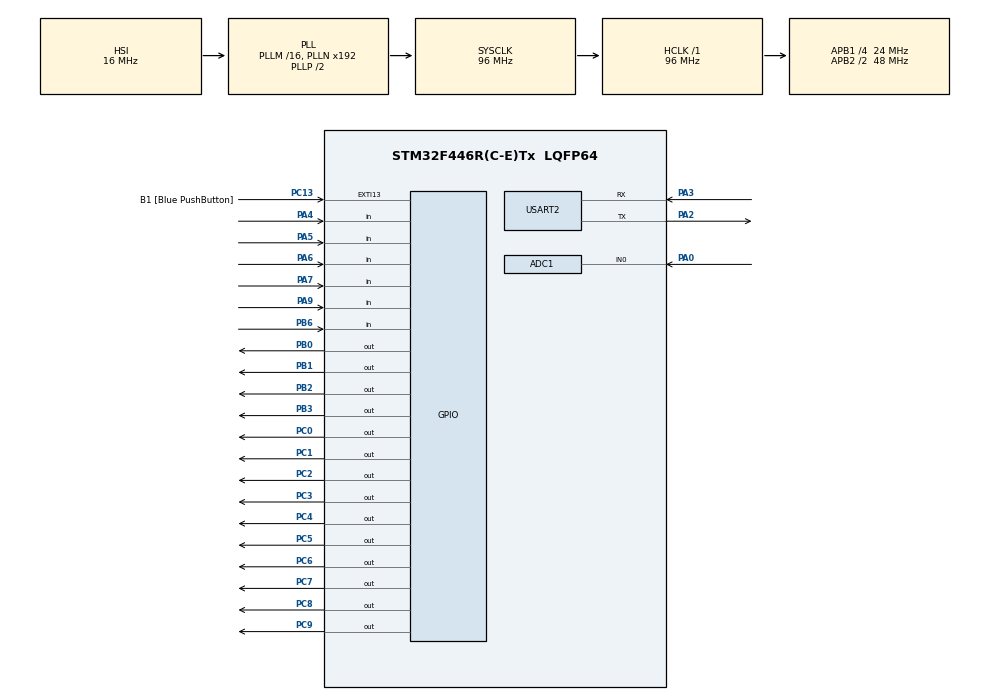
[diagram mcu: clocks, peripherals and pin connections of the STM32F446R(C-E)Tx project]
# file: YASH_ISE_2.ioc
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ADC1.Channel-0\#ChannelRegularConversion=ADC_CHANNEL_0
ADC1.ContinuousConvMode=ENABLE
ADC1.NbrOfConversionFlag=1
ADC1.Rank-0\#ChannelRegularConversion=1
ADC1.SamplingTime-0\#ChannelRegularConversion=ADC_SAMPLETIME_3CYCLES
ADC1.master=1
Mcu.Family=STM32F4
Mcu.Name=STM32F446R(C-E)Tx
Mcu.Package=LQFP64
NVIC.EXTI15_10_IRQn=true\:0\:0\:false\:false\:true\:true\:true\:true
NVIC.PriorityGroup=NVIC_PRIORITYGROUP_0
NVIC.USART2_IRQn=true\:0\:0\:false\:false\:true\:true\:true\:true
PA0-WKUP.Signal=SharedAnalog_PA0
PA13.GPIO_Label=TMS
PA13.Mode=Serial_Wire
PA13.Signal=SYS_JTMS-SWDIO
PA14.GPIO_Label=TCK
PA14.Mode=Serial_Wire
PA14.Signal=SYS_JTCK-SWCLK
PA2.Mode=Asynchronous
PA2.Signal=USART2_TX
PA3.Mode=Asynchronous
PA3.Signal=USART2_RX
PA4.GPIO_PuPd=GPIO_PULLUP
PA4.Signal=GPIO_Input
PA5.GPIO_PuPd=GPIO_PULLUP
PA5.Signal=GPIO_Input
PA6.GPIO_PuPd=GPIO_PULLUP
PA6.Signal=GPIO_Input
PA7.GPIO_PuPd=GPIO_PULLUP
PA7.Signal=GPIO_Input
PA9.Signal=GPIO_Input
PB0.Signal=GPIO_Output
PB1.Signal=GPIO_Output
PB2.Signal=GPIO_Output
PB3.Signal=GPIO_Output
PB6.Signal=GPIO_Input
PC0.Signal=GPIO_Output
PC1.Signal=GPIO_Output
PC13.GPIO_Label=B1 [Blue PushButton]
PC13.GPIO_ModeDefaultEXTI=GPIO_MODE_IT_FALLING
PC13.Signal=GPXTI13
PC14-OSC32_IN.Signal=RCC_OSC32_IN
PC15-OSC32_OUT.Signal=RCC_OSC32_OUT
PC2.Signal=GPIO_Output
PC3.Signal=GPIO_Output
PC4.Signal=GPIO_Output
PC5.Signal=GPIO_Output
PC6.Signal=GPIO_Output
PC7.Signal=GPIO_Output
PC8.Signal=GPIO_Output
PC9.Signal=GPIO_Output
PH0-OSC_IN.Signal=RCC_OSC_IN
PH1-OSC_OUT.Signal=RCC_OSC_OUT
ProjectManager.HeapSize=0x200
ProjectManager.StackSize=0x400
ProjectManager.TargetToolchain=STM32CubeIDE
RCC.48MHZClocksFreq_Value=84000000
RCC.AHBFreq_Value=96000000
RCC.APB1CLKDivider=RCC_HCLK_DIV4
RCC.APB1Freq_Value=24000000
RCC.APB1TimFreq_Value=48000000
RCC.APB2CLKDivider=RCC_HCLK_DIV2
RCC.APB2Freq_Value=48000000
RCC.APB2TimFreq_Value=96000000
RCC.CortexFreq_Value=96000000
RCC.FLatency-AdvancedSettings=FLASH_LATENCY_3
RCC.HCLKFreq_Value=96000000
RCC.HSE_VALUE=8000000
RCC.HSI_VALUE=16000000
RCC.PLLQ=4
RCC.PLLSourceVirtual=RCC_PLLSOURCE_HSI
RCC.SYSCLKFreq_VALUE=96000000
RCC.SYSCLKSource=RCC_SYSCLKSOURCE_PLLCLK
RCC.USBFreq_Value=48000000
RCC.VCOOutputFreq_Value=192000000
RTC.Format=RTC_FORMAT_BIN
RTC.Hours=2
RTC.Minutes=40
RTC.Month=RTC_MONTH_APRIL
RTC.WeekDay=RTC_WEEKDAY_SUNDAY
SH.SharedAnalog_PA0.0=GPIO_Analog
SH.SharedAnalog_PA0.1=ADC1_IN0,IN0
USART2.VirtualMode=VM_ASYNC
VP_RTC_VS_RTC_Activate.Mode=RTC_Enabled
VP_RTC_VS_RTC_Calendar.Mode=RTC_Calendar
board=NUCLEO-F446RE

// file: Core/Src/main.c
/* USER CODE BEGIN Header */
/**
  ******************************************************************************
  * @file           : main.c
  * @brief          : Main program body
  ******************************************************************************
  * @attention
  *
  * Copyright (c) 2026 STMicroelectronics.
  * All rights reserved.
  *
  * This software is licensed under terms that can be found in the LICENSE file
  * in the root directory of this software component.
  * If no LICENSE file comes with this software, it is provided AS-IS.
  *
  ******************************************************************************
  */
/* USER CODE END Header */
#include "main.h"

/* USER CODE BEGIN Includes */
//#include "usbd_cdc_if.h"
#include <stdio.h>
#include "string.h"
#include <stdlib.h>
/* USER CODE END Includes */

ADC_HandleTypeDef hadc1;

RTC_HandleTypeDef hrtc;

UART_HandleTypeDef huart2;

/* USER CODE BEGIN PV */
int menu_index = 0;
int total = 0;
int item_count = 0;

char input[3];
int input_pos = 0;
int bill_no = 1;
int selected[50];
int idx = 0;
uint32_t timer = 0;

// ===== STATE MACHINE =====
typedef enum {
    STARTUP,
    MENU,
    HOME,
    ADD_ITEM,
    FINAL_BILL
} State_t;

// Global state variable
State_t state = STARTUP;
/* USER CODE END PV */

void SystemClock_Config(void);
static void MX_GPIO_Init(void);
static void MX_USART2_UART_Init(void);
static void MX_ADC1_Init(void);
static void MX_RTC_Init(void);
/* USER CODE BEGIN PFP */
void LCD_Command(char cmd);
void LCD_Data(char data);
void LCD_Clear(void);
void LCD_String(char *str);
void Print_Bill(void);
char Keypad_Read(void);
/* USER CODE END PFP */

/* USER CODE BEGIN 0 */

void LCD_Clear()
{
    LCD_Command(0x01);
    HAL_Delay(2);
}

void LCD_String(char *str)
{
    while(*str)
        LCD_Data(*str++);
}

void LCD_Command(char cmd)
{
    HAL_GPIO_WritePin(GPIOC, GPIO_PIN_8, GPIO_PIN_RESET); // RS = 0
    HAL_GPIO_WritePin(GPIOC, GPIO_PIN_0|GPIO_PIN_1|GPIO_PIN_2|GPIO_PIN_3|
                              GPIO_PIN_4|GPIO_PIN_5|GPIO_PIN_6|GPIO_PIN_7, GPIO_PIN_RESET);

    GPIOC->ODR |= (cmd & 0xFF);

    HAL_GPIO_WritePin(GPIOC, GPIO_PIN_9, GPIO_PIN_SET);
    HAL_Delay(1);
    HAL_GPIO_WritePin(GPIOC, GPIO_PIN_9, GPIO_PIN_RESET);
}

void LCD_Data(char data)
{
    HAL_GPIO_WritePin(GPIOC, GPIO_PIN_8, GPIO_PIN_SET); // RS = 1

    HAL_GPIO_WritePin(GPIOC, GPIO_PIN_0|GPIO_PIN_1|GPIO_PIN_2|GPIO_PIN_3|
                              GPIO_PIN_4|GPIO_PIN_5|GPIO_PIN_6|GPIO_PIN_7, GPIO_PIN_RESET);

    GPIOC->ODR |= (data & 0xFF);

    HAL_GPIO_WritePin(GPIOC, GPIO_PIN_9, GPIO_PIN_SET);
    HAL_Delay(1);
    HAL_GPIO_WritePin(GPIOC, GPIO_PIN_9, GPIO_PIN_RESET);
}

void LCD_Init()
{
    HAL_Delay(50);

    LCD_Command(0x38); // 8-bit, 2 line
    LCD_Command(0x0C); // display ON
    LCD_Command(0x06); // increment cursor
    LCD_Command(0x01); // clear
}

void LCD_SetCursor(int row, int col)
{
    if(row == 0)
        LCD_Command(0x80 + col);
    else
        LCD_Command(0xC0 + col);
}

char keypad[4][4] = {
    {'1','2','3','A'},
    {'4','5','6','B'},
    {'7','8','9','C'},
    {'*','0','#','D'}
};

char Keypad_Read(void)
{
    for(int row = 0; row < 4; row++)
    {
        // Set all rows HIGH
        HAL_GPIO_WritePin(GPIOB, GPIO_PIN_0|GPIO_PIN_1|GPIO_PIN_2|GPIO_PIN_3, GPIO_PIN_SET);

        // Set current row LOW
        HAL_GPIO_WritePin(GPIOB, (GPIO_PIN_0 << row), GPIO_PIN_RESET);

        // Check columns
        if(HAL_GPIO_ReadPin(GPIOA, GPIO_PIN_4) == GPIO_PIN_RESET) return keypad[row][0];
        if(HAL_GPIO_ReadPin(GPIOA, GPIO_PIN_5) == GPIO_PIN_RESET) return keypad[row][1];
        if(HAL_GPIO_ReadPin(GPIOA, GPIO_PIN_6) == GPIO_PIN_RESET) return keypad[row][2];
        if(HAL_GPIO_ReadPin(GPIOA, GPIO_PIN_7) == GPIO_PIN_RESET) return keypad[row][3];
    }

//    HAL_Delay(150);  // debounce
//    while(HAL_GPIO_ReadPin(GPIOA, GPIO_PIN_4)==GPIO_PIN_RESET ||
//          HAL_GPIO_ReadPin(GPIOA, GPIO_PIN_5)==GPIO_PIN_RESET ||
//          HAL_GPIO_ReadPin(GPIOA, GPIO_PIN_6)==GPIO_PIN_RESET ||
//          HAL_GPIO_ReadPin(GPIOA, GPIO_PIN_7)==GPIO_PIN_RESET);

    return 0; // No key pressed
}

typedef struct {
    char name[20];
    int price;
} Item;

Item menu[] = {
    {"Sambhar Vada",30},
    {"Idli Sambhar",30},
    {"Idli Vada",30},
    {"Plain Dosa",40},
    {"Masala Dosa",50},
    {"Rava Dosa",70},
    {"Uthappam",70},
    {"Mix Uthappam",80},
    {"Upma",50},
    {"Fried Rice",60},
    {"Jeera Rice",60},
    {"Tomato Rice",60},
    {"Coffee",10},
    {"Tea",12},
    {"Badam Milk",15}
};

void RTC_Get_Time(char *buf)
{
    RTC_TimeTypeDef sTime;
    RTC_DateTypeDef sDate;

    HAL_RTC_GetTime(&hrtc, &sTime, RTC_FORMAT_BIN);
    HAL_RTC_GetDate(&hrtc, &sDate, RTC_FORMAT_BIN);

    sprintf(buf,"%02d:%02d:%02d     ",
            sTime.Hours,
            sTime.Minutes,
            sTime.Seconds);
}
/* USER CODE END 0 */

int main(void)
{

  /* MCU Configuration--------------------------------------------------------*/

  /* Reset of all peripherals, Initializes the Flash interface and the Systick. */
  HAL_Init();

  /* Configure the system clock */
  SystemClock_Config();

  /* Initialize all configured peripherals */
  MX_GPIO_Init();
  MX_USART2_UART_Init();
  MX_ADC1_Init();
  MX_RTC_Init();
  /* USER CODE BEGIN 2 */
  LCD_Init();
  HAL_Delay(500);
  LCD_Clear();

//char buffer[20];

//    char key;
////  char msg[50];
////  char buf[16];

  /* USER CODE END 2 */

  /* Infinite loop */
  /* USER CODE BEGIN WHILE */
  while (1)
  {
	  char key = Keypad_Read();
	      switch(state)
	      {
	      // ================= STARTUP =================
	      case STARTUP:
	          LCD_Clear();
	          LCD_SetCursor(0,0);
	          LCD_String("India Skills");
	          LCD_SetCursor(1,0);
	          LCD_String("Billing Machine");

	          HAL_Delay(2000);

	          state = MENU;
	          break;

	      // ================= MENU AUTO SCROLL =================
	      case MENU:
	          if(HAL_GetTick() - timer > 1000)
	          {
	              timer = HAL_GetTick();

	              LCD_Clear();
	              LCD_SetCursor(0,0);
	              LCD_String(menu[menu_index].name);

	              LCD_SetCursor(1,0);
	              LCD_String("Price: ");

	              char buf[10];
	              sprintf(buf,"%d", menu[menu_index].price);

	              LCD_SetCursor(1,7);   // RIGHT ALIGN (12th column)
	              LCD_String(buf);

	              menu_index++;
	              if(menu_index >= 15)
	              {
	                  menu_index = 0;
	                  state = HOME;
	              }
	          }
	          break;

	      // ================= HOME SCREEN =================
	      case HOME:
	      {
	          char timebuf[20];
	          RTC_Get_Time(timebuf);

	          LCD_SetCursor(0,0);
	          LCD_String("Billing Machine");

	          LCD_SetCursor(1,0);
	          LCD_String(timebuf);

	          if(key == '#')   // ENTER button
	          {
	              input_pos = 0;
	              state = ADD_ITEM;
	              LCD_Clear();
	          }
	      }
	      break;

	      // ================= ADD ITEM =================
	      case ADD_ITEM:
	    	  selected[item_count] = idx;

	          LCD_SetCursor(0,0);
	          LCD_String("Enter Code:");

	          if(key >= '0' && key <= '9')
	          {
	              if(input_pos < 2)
	              {
	                  input[input_pos++] = key;
	                  LCD_SetCursor(1, input_pos-1);
	                  LCD_Data(key);
	              }
	          }

	          if(key == '#')   // ENTER
	          {
	              input[input_pos] = '\0';
	              int idx = atoi(input) - 1;

	              if(idx >=0 && idx < 15)
	              {
	                  total += menu[idx].price;
	                  item_count++;

	                  LCD_Clear();
	                  LCD_SetCursor(0,0);
	                  LCD_String(menu[idx].name);

	                  char buf[16];
	                  sprintf(buf,"P:%d Tot:%d",menu[idx].price,total);

	                  LCD_SetCursor(1,0);
	                  LCD_String(buf);

	                  HAL_Delay(1500);

	                  state = ADD_ITEM;
	                  input_pos = 0;
	                  LCD_Clear();
	              }
	          }

	          if(key == '*')   // BACK
	          {
	              state = HOME;
	              LCD_Clear();
	          }

	          if(key == 'D')   // FINAL BILL button (choose any key)
	          {
	              state = FINAL_BILL;
	              LCD_Clear();
	          }
	          break;

	      // ================= FINAL BILL =================
	      case FINAL_BILL:

	          Print_Bill();

	          LCD_Clear();
	          LCD_SetCursor(0,0);
	          LCD_String("Items:");

	          char buf[16];
	          sprintf(buf,"%d", item_count);
	          LCD_SetCursor(0,7);
	          LCD_String(buf);

	          LCD_SetCursor(1,0);
	          LCD_String("Total:");

	          sprintf(buf,"%d", total);
	          LCD_SetCursor(1,7);
	          LCD_String(buf);

	          HAL_Delay(2000);

	          total = 0;
	          item_count = 0;

	          state = HOME;

	      break;
	      }
    /* USER CODE END WHILE */

  }
}

void SystemClock_Config(void)
{
  RCC_OscInitTypeDef RCC_OscInitStruct = {0};
  RCC_ClkInitTypeDef RCC_ClkInitStruct = {0};

  /** Configure the main internal regulator output voltage
  */
  __HAL_RCC_PWR_CLK_ENABLE();
  __HAL_PWR_VOLTAGESCALING_CONFIG(PWR_REGULATOR_VOLTAGE_SCALE3);

  /** Initializes the RCC Oscillators according to the specified parameters
  * in the RCC_OscInitTypeDef structure.
  */
  RCC_OscInitStruct.OscillatorType = RCC_OSCILLATORTYPE_HSI|RCC_OSCILLATORTYPE_LSI;
  RCC_OscInitStruct.LSEState = RCC_LSE_OFF;
  RCC_OscInitStruct.HSIState = RCC_HSI_ON;
  RCC_OscInitStruct.HSICalibrationValue = RCC_HSICALIBRATION_DEFAULT;
  RCC_OscInitStruct.LSIState = RCC_LSI_ON;
  RCC_OscInitStruct.PLL.PLLState = RCC_PLL_ON;
  RCC_OscInitStruct.PLL.PLLSource = RCC_PLLSOURCE_HSI;
  RCC_OscInitStruct.PLL.PLLM = 16;
  RCC_OscInitStruct.PLL.PLLN = 192;
  RCC_OscInitStruct.PLL.PLLP = RCC_PLLP_DIV2;
  RCC_OscInitStruct.PLL.PLLQ = 4;
  RCC_OscInitStruct.PLL.PLLR = 2;
  if (HAL_RCC_OscConfig(&RCC_OscInitStruct) != HAL_OK)
  {
    Error_Handler();
  }

  /** Initializes the CPU, AHB and APB buses clocks
  */
  RCC_ClkInitStruct.ClockType = RCC_CLOCKTYPE_HCLK|RCC_CLOCKTYPE_SYSCLK
                              |RCC_CLOCKTYPE_PCLK1|RCC_CLOCKTYPE_PCLK2;
  RCC_ClkInitStruct.SYSCLKSource = RCC_SYSCLKSOURCE_PLLCLK;
  RCC_ClkInitStruct.AHBCLKDivider = RCC_SYSCLK_DIV1;
  RCC_ClkInitStruct.APB1CLKDivider = RCC_HCLK_DIV4;
  RCC_ClkInitStruct.APB2CLKDivider = RCC_HCLK_DIV2;

  if (HAL_RCC_ClockConfig(&RCC_ClkInitStruct, FLASH_LATENCY_3) != HAL_OK)
  {
    Error_Handler();
  }
}

static void MX_ADC1_Init(void)
{

  ADC_ChannelConfTypeDef sConfig = {0};

  /** Configure the global features of the ADC (Clock, Resolution, Data Alignment and number of conversion)
  */
  hadc1.Instance = ADC1;
  hadc1.Init.ClockPrescaler = ADC_CLOCK_SYNC_PCLK_DIV2;
  hadc1.Init.Resolution = ADC_RESOLUTION_12B;
  hadc1.Init.ScanConvMode = DISABLE;
  hadc1.Init.ContinuousConvMode = ENABLE;
  hadc1.Init.DiscontinuousConvMode = DISABLE;
  hadc1.Init.ExternalTrigConvEdge = ADC_EXTERNALTRIGCONVEDGE_NONE;
  hadc1.Init.ExternalTrigConv = ADC_SOFTWARE_START;
  hadc1.Init.DataAlign = ADC_DATAALIGN_RIGHT;
  hadc1.Init.NbrOfConversion = 1;
  hadc1.Init.DMAContinuousRequests = DISABLE;
  hadc1.Init.EOCSelection = ADC_EOC_SINGLE_CONV;
  if (HAL_ADC_Init(&hadc1) != HAL_OK)
  {
    Error_Handler();
  }

  /** Configure for the selected ADC regular channel its corresponding rank in the sequencer and its sample time.
  */
  sConfig.Channel = ADC_CHANNEL_0;
  sConfig.Rank = 1;
  sConfig.SamplingTime = ADC_SAMPLETIME_3CYCLES;
  if (HAL_ADC_ConfigChannel(&hadc1, &sConfig) != HAL_OK)
  {
    Error_Handler();
  }

}

static void MX_RTC_Init(void)
{

  RTC_TimeTypeDef sTime = {0};
  RTC_DateTypeDef sDate = {0};

  /** Initialize RTC Only
  */
  hrtc.Instance = RTC;
  hrtc.Init.HourFormat = RTC_HOURFORMAT_24;
  hrtc.Init.AsynchPrediv = 127;
  hrtc.Init.SynchPrediv = 255;
  hrtc.Init.OutPut = RTC_OUTPUT_DISABLE;
  hrtc.Init.OutPutPolarity = RTC_OUTPUT_POLARITY_HIGH;
  hrtc.Init.OutPutType = RTC_OUTPUT_TYPE_OPENDRAIN;
  if (HAL_RTC_Init(&hrtc) != HAL_OK)
  {
    Error_Handler();
  }

  /** Initialize RTC and set the Time and Date
  */
  sTime.Hours = 2;
  sTime.Minutes = 40;
  sTime.Seconds = 0;
  sTime.DayLightSaving = RTC_DAYLIGHTSAVING_NONE;
  sTime.StoreOperation = RTC_STOREOPERATION_RESET;
  if (HAL_RTC_SetTime(&hrtc, &sTime, RTC_FORMAT_BIN) != HAL_OK)
  {
    Error_Handler();
  }
  sDate.WeekDay = RTC_WEEKDAY_SUNDAY;
  sDate.Month = RTC_MONTH_APRIL;
  sDate.Date = 1;
  sDate.Year = 0;

  if (HAL_RTC_SetDate(&hrtc, &sDate, RTC_FORMAT_BIN) != HAL_OK)
  {
    Error_Handler();
  }

}

static void MX_USART2_UART_Init(void)
{

  huart2.Instance = USART2;
  huart2.Init.BaudRate = 115200;
  huart2.Init.WordLength = UART_WORDLENGTH_8B;
  huart2.Init.StopBits = UART_STOPBITS_1;
  huart2.Init.Parity = UART_PARITY_NONE;
  huart2.Init.Mode = UART_MODE_TX_RX;
  huart2.Init.HwFlowCtl = UART_HWCONTROL_NONE;
  huart2.Init.OverSampling = UART_OVERSAMPLING_16;
  if (HAL_UART_Init(&huart2) != HAL_OK)
  {
    Error_Handler();
  }

}

static void MX_GPIO_Init(void)
{
  GPIO_InitTypeDef GPIO_InitStruct = {0};

  /* GPIO Ports Clock Enable */
  __HAL_RCC_GPIOC_CLK_ENABLE();
  __HAL_RCC_GPIOH_CLK_ENABLE();
  __HAL_RCC_GPIOA_CLK_ENABLE();
  __HAL_RCC_GPIOB_CLK_ENABLE();

  /*Configure GPIO pin Output Level */
  HAL_GPIO_WritePin(GPIOC, GPIO_PIN_0|GPIO_PIN_1|GPIO_PIN_2|GPIO_PIN_3
                          |GPIO_PIN_4|GPIO_PIN_5|GPIO_PIN_6|GPIO_PIN_7
                          |GPIO_PIN_8|GPIO_PIN_9, GPIO_PIN_RESET);

  /*Configure GPIO pin Output Level */
  HAL_GPIO_WritePin(GPIOB, GPIO_PIN_0|GPIO_PIN_1|GPIO_PIN_2|GPIO_PIN_3, GPIO_PIN_RESET);

  /*Configure GPIO pin : B1_Pin */
  GPIO_InitStruct.Pin = B1_Pin;
  GPIO_InitStruct.Mode = GPIO_MODE_IT_FALLING;
  GPIO_InitStruct.Pull = GPIO_NOPULL;
  HAL_GPIO_Init(B1_GPIO_Port, &GPIO_InitStruct);

  /*Configure GPIO pins : PC0 PC1 PC2 PC3
                           PC4 PC5 PC6 PC7
                           PC8 PC9 */
  GPIO_InitStruct.Pin = GPIO_PIN_0|GPIO_PIN_1|GPIO_PIN_2|GPIO_PIN_3
                          |GPIO_PIN_4|GPIO_PIN_5|GPIO_PIN_6|GPIO_PIN_7
                          |GPIO_PIN_8|GPIO_PIN_9;
  GPIO_InitStruct.Mode = GPIO_MODE_OUTPUT_PP;
  GPIO_InitStruct.Pull = GPIO_NOPULL;
  GPIO_InitStruct.Speed = GPIO_SPEED_FREQ_LOW;
  HAL_GPIO_Init(GPIOC, &GPIO_InitStruct);

  /*Configure GPIO pins : PA4 PA5 PA6 PA7 */
  GPIO_InitStruct.Pin = GPIO_PIN_4|GPIO_PIN_5|GPIO_PIN_6|GPIO_PIN_7;
  GPIO_InitStruct.Mode = GPIO_MODE_INPUT;
  GPIO_InitStruct.Pull = GPIO_PULLUP;
  HAL_GPIO_Init(GPIOA, &GPIO_InitStruct);

  /*Configure GPIO pins : PB0 PB1 PB2 PB3 */
  GPIO_InitStruct.Pin = GPIO_PIN_0|GPIO_PIN_1|GPIO_PIN_2|GPIO_PIN_3;
  GPIO_InitStruct.Mode = GPIO_MODE_OUTPUT_PP;
  GPIO_InitStruct.Pull = GPIO_NOPULL;
  GPIO_InitStruct.Speed = GPIO_SPEED_FREQ_LOW;
  HAL_GPIO_Init(GPIOB, &GPIO_InitStruct);

  /*Configure GPIO pin : PA9 */
  GPIO_InitStruct.Pin = GPIO_PIN_9;
  GPIO_InitStruct.Mode = GPIO_MODE_INPUT;
  GPIO_InitStruct.Pull = GPIO_NOPULL;
  HAL_GPIO_Init(GPIOA, &GPIO_InitStruct);

  /*Configure GPIO pin : PB6 */
  GPIO_InitStruct.Pin = GPIO_PIN_6;
  GPIO_InitStruct.Mode = GPIO_MODE_INPUT;
  GPIO_InitStruct.Pull = GPIO_NOPULL;
  HAL_GPIO_Init(GPIOB, &GPIO_InitStruct);

  /* EXTI interrupt init*/
  HAL_NVIC_SetPriority(EXTI15_10_IRQn, 0, 0);
  HAL_NVIC_EnableIRQ(EXTI15_10_IRQn);

}

/* USER CODE BEGIN 4 */
void Print_Bill()
{
    char buf[64];

    sprintf(buf,"\r\nIndia skills - 2026 National\r\n");
    HAL_UART_Transmit(&huart2,(uint8_t*)buf,strlen(buf),HAL_MAX_DELAY);

    sprintf(buf,"****ISC Billing Machine****\r\n");
    HAL_UART_Transmit(&huart2,(uint8_t*)buf,strlen(buf),HAL_MAX_DELAY);

    sprintf(buf,"Bill Number: %04d\r\n", bill_no++);
    HAL_UART_Transmit(&huart2,(uint8_t*)buf,strlen(buf),HAL_MAX_DELAY);

    sprintf(buf,"--------------------------------\r\n");
    HAL_UART_Transmit(&huart2,(uint8_t*)buf,strlen(buf),HAL_MAX_DELAY);

    sprintf(buf,"Sr.  Item Name        Price\r\n");
    HAL_UART_Transmit(&huart2,(uint8_t*)buf,strlen(buf),HAL_MAX_DELAY);

    for(int i=0;i<item_count;i++)
    {
        int id = selected[i];

        sprintf(buf,"%-3d %-15s %3d\r\n",
                i+1,
                menu[id].name,
                menu[id].price);

        HAL_UART_Transmit(&huart2,(uint8_t*)buf,strlen(buf),HAL_MAX_DELAY);
    }

    sprintf(buf,"--------------------------------\r\n");
    HAL_UART_Transmit(&huart2,(uint8_t*)buf,strlen(buf),HAL_MAX_DELAY);

    sprintf(buf,"Grand Total        %d\r\n", total);
    HAL_UART_Transmit(&huart2,(uint8_t*)buf,strlen(buf),HAL_MAX_DELAY);
}
/* USER CODE END 4 */

void Error_Handler(void)
{
  __disable_irq();
  while (1)
  {
  }
}
